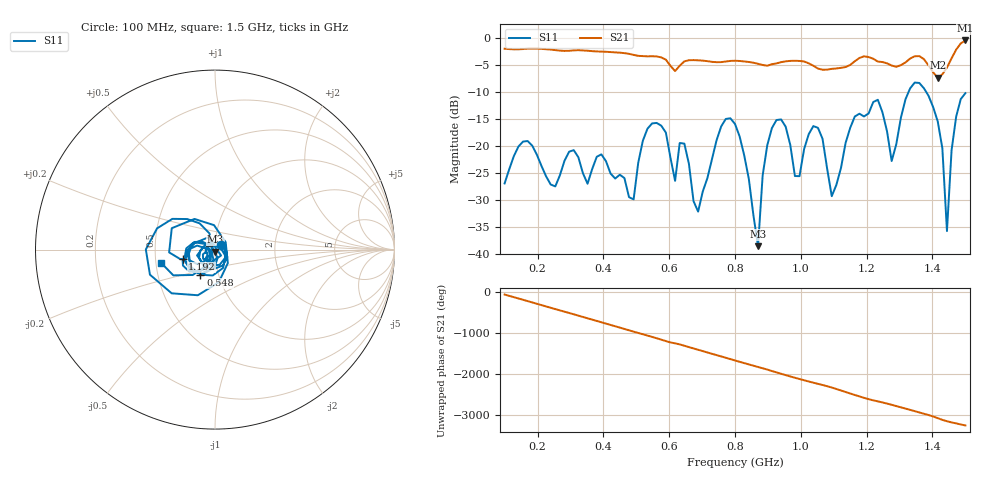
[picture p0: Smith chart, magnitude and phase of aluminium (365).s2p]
! NanoVNA-App
! Date: 2025-09-25 14:58:07
! Start: 100MHz Stop: 1,5GHz Points: 101
! S-Parameter data: F S11 S21 S12 S22
# Hz S RI R 50
!  Frequency  S11_Real  S11_Imag  S21_Real  S21_Imag  S12_Real  S12_Imag  S22_Real  S22_Imag
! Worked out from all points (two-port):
!   101 points, 100 MHz to 1.5 GHz, reference 50 ohm
!   highest |S21| = -0.38 dB at 1.5 GHz (marker M1); lowest = -7.3 dB at 1.416 GHz (marker M2)
!   |S21| within 3 dB of the highest: start of sweep to 564.3 MHz; 1.461 GHz to end of sweep (the widest 2 of 4)
!   lowest |S11| = -38.6 dB at 870 MHz (marker M3), VSWR 1.02, Z = 50.2 - j1.15 ohm
!   |S11| at or under -10 dB: start of sweep to 1.327 GHz; 1.381 GHz to end of sweep
!   S12 and S22 are empty: the file has one direction only
!   S11 on the Smith chart (normalised r, x): 100 MHz: 1.07, +0.06; 548 MHz: 0.82, -0.24; 1.192 GHz: 0.69, -0.07; 1.5 GHz: 0.53, -0.09
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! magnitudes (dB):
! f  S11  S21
! 100 MHz  -27.0  -1.9
! 156 MHz  -19.2  -2.0
! 338 MHz  -25.1  -2.2
! 492 MHz  -29.9  -3.1
! 548 MHz  -15.8  -3.3
! 576 MHz  -16.2  -3.5
! 646 MHz  -19.6  -4.3
! 688 MHz  -32.2  -4.1
! 800 MHz  -15.9  -4.2
! 870 MHz  -38.6  -4.7
! 912 MHz  -16.7  -4.8
! 996 MHz  -25.6  -4.2
! 1.038 GHz  -16.3  -5.1
! 1.094 GHz  -29.3  -5.7
! 1.192 GHz  -14.5  -3.3
! 1.234 GHz  -11.4  -4.3
! 1.276 GHz  -22.8  -5.0
! 1.346 GHz  -8.2  -3.3
! 1.416 GHz  -15.4  -7.3
! 1.444 GHz  -35.8  -5.4
! 1.458 GHz  -20.8  -3.7
! 1.5 GHz  -10.2  -0.4
